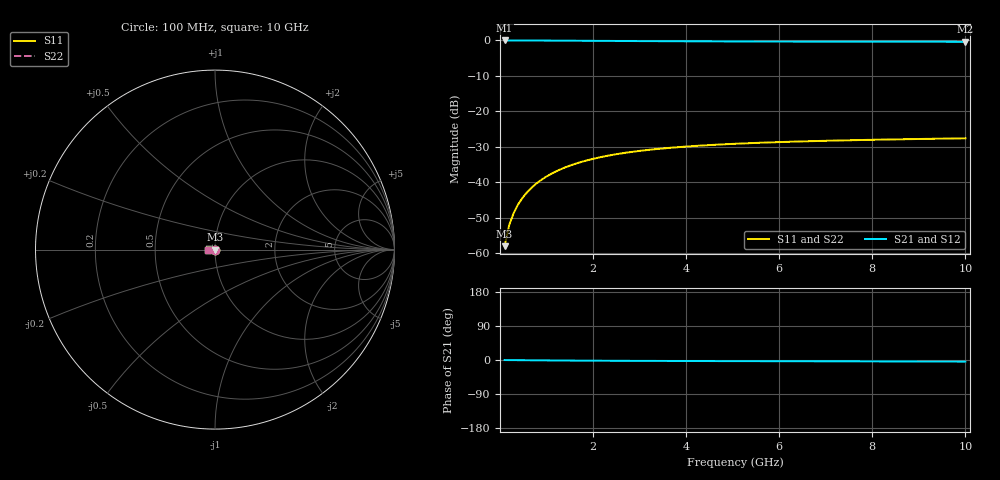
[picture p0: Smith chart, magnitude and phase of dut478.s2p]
! Touchstone file exported from HFSS 2024.1.0
!  File:  C:/UserFiles/LocalFiles/RDL_TSV_Batchsim/temp_TSV1_478_1779699200.aedt
!  Generated:  05:00:25 PM May 25, 2026
!  Design:  TSV1
!  Project:  temp_TSV1_478_1779699200
!  Setup:  Setup1
!  Solution:  Sweep
! Variables:
!  dtsv = 13.51um
!  hbump = 3um
!  htsv = 61.97um
!  lrdl = 252.1521522um
!  p = 40
!  p1 = 56.53um
!  t = 500um
!  trdl = 3um
!  wrdl = 24.89489489um
# GHz S MA R 50.000000
! Terminal data exported
! Port[1] = TSV22_T1
! Port[2] = TSV22_T2
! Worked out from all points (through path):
!   100 points, 100 MHz to 10 GHz, reference 50 ohm
!   highest |S21| = 0.00 dB at 100 MHz (marker M1); lowest = -0.4 dB at 10 GHz (marker M2)
!   lowest |S11| = -58.0 dB at 100 MHz (marker M3), VSWR 1.00, Z = 50 - j0.125 ohm
!   |S11| at or under -10 dB: start of sweep to end of sweep
!   |S22| runs from -58.0 to -27.6 dB; largest |S21 - S12| = 7e-15
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0.1  0.001253 -88.6  0.9999 -0.1  0.9999 -0.1  0.001253 -88.6
! Gamma 0 0 0 0
! Port Impedance 50 0 50 0
0.2  0.002503 -92.0  0.9997 -0.2  0.9997 -0.2  0.002503 -92.0
0.3  0.003751 -94.5  0.9995 -0.3  0.9995 -0.3  0.003751 -94.5
0.4  0.004992 -96.6  0.9992 -0.5  0.9992 -0.5  0.004992 -96.6
0.5  0.006219 -98.7  0.9988 -0.6  0.9988 -0.6  0.006219 -98.7
0.6  0.00743 -100.8  0.9984 -0.7  0.9984 -0.7  0.00743 -100.8
0.7  0.00862 -102.7  0.9978 -0.8  0.9978 -0.8  0.00862 -102.7
0.8  0.009786 -104.7  0.9973 -0.9  0.9973 -0.9  0.009786 -104.7
0.9  0.01092 -106.5  0.9966 -1.0  0.9966 -1.0  0.01092 -106.5
1.1  0.01312 -110.2  0.9952 -1.2  0.9952 -1.2  0.01312 -110.2
1.4  0.01617 -115.4  0.9928 -1.4  0.9928 -1.4  0.01617 -115.4
1.6  0.01803 -118.6  0.9911 -1.6  0.9911 -1.6  0.01803 -118.6
1.8  0.01976 -121.7  0.9894 -1.7  0.9894 -1.7  0.01976 -121.7
2.1  0.02212 -126.0  0.9868 -1.9  0.9868 -1.9  0.02212 -126.0
2.5  0.02484 -131.2  0.9835 -2.1  0.9835 -2.1  0.02484 -131.2
2.9  0.02715 -135.9  0.9804 -2.3  0.9804 -2.3  0.02715 -135.9
3.4  0.02954 -141.1  0.9769 -2.5  0.9769 -2.5  0.02954 -141.1
4.2  0.0325 -148.1  0.9722 -2.7  0.9722 -2.7  0.0325 -148.1
5.1  0.03497 -154.6  0.9681 -3.0  0.9681 -3.0  0.03497 -154.6
6.7  0.03797 -163.7  0.9631 -3.4  0.9631 -3.4  0.03797 -163.7
8.4  0.04012 -171.3  0.9596 -3.8  0.9596 -3.8  0.04012 -171.3
10  0.04162 -177.3  0.9573 -4.2  0.9573 -4.2  0.04162 -177.3
